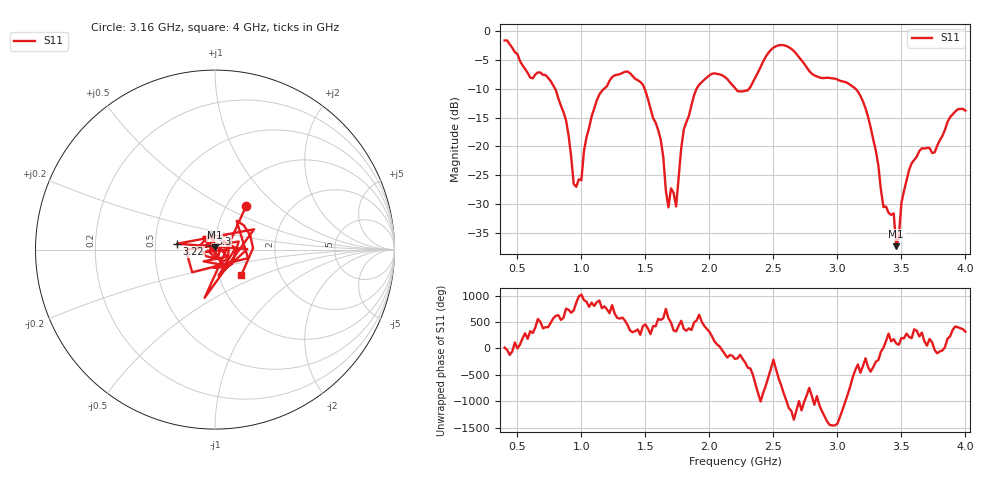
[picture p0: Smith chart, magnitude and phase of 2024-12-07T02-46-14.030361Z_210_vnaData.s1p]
!Created with skrf (http://scikit-rf.org).
# Hz S RI R 50.0
!freq ReS11 ImS11
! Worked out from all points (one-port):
!   181 points, 400 MHz to 4 GHz, reference 50 ohm
!   lowest |S11| = -37.3 dB at 3.46 GHz (marker M1), VSWR 1.03, Z = 50 + j1.37 ohm
!   |S11| at or under -10 dB: 794.8 MHz to 1.177 GHz (382.2 MHz wide, 38.8 % of centre); 1.494 GHz to 1.899 GHz (405.5 MHz wide, 23.9 % of centre); 3.142 GHz to end of sweep (the widest 3 of 4)
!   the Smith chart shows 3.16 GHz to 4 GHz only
!   S11 on the Smith chart (normalised r, x): 3.16 GHz: 1.23, +0.66; 3.22 GHz: 0.65, +0.04; 3.3 GHz: 0.94, +0.17; 4 GHz: 1.28, -0.38
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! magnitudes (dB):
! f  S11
! 400 MHz  -1.6
! 600 MHz  -8.0
! 740 MHz  -8.1
! 860 MHz  -14.1
! 960 MHz  -27.0
! 1.12 GHz  -12.0
! 1.3 GHz  -7.5
! 1.5 GHz  -10.3
! 1.62 GHz  -18.9
! 1.68 GHz  -30.6
! 1.7 GHz  -27.3
! 1.74 GHz  -30.4
! 1.76 GHz  -25.2
! 1.8 GHz  -17.1
! 1.9 GHz  -10.0
! 2.2 GHz  -9.9
! 2.3 GHz  -10.2
! 2.5 GHz  -2.9
! 2.66 GHz  -3.5
! 3.1 GHz  -9.3
! 3.16 GHz  -10.5
! 3.22 GHz  -13.4
! 3.3 GHz  -20.7
! 3.36 GHz  -30.5
! 3.44 GHz  -31.6
! 3.46 GHz  -37.3
! 3.56 GHz  -24.1
! 4 GHz  -13.8
